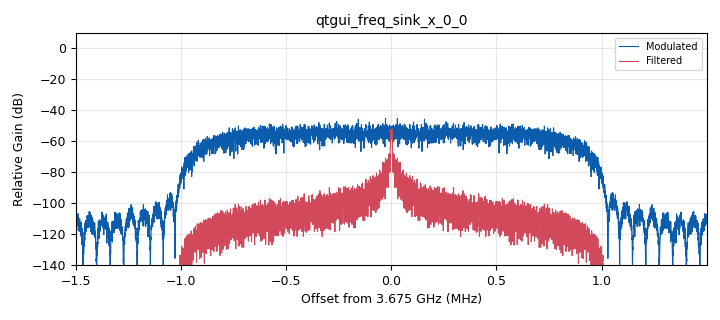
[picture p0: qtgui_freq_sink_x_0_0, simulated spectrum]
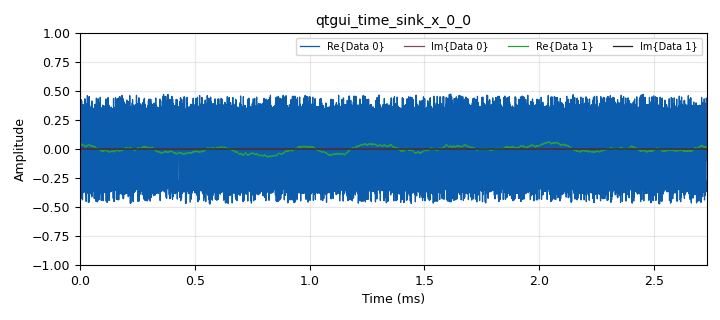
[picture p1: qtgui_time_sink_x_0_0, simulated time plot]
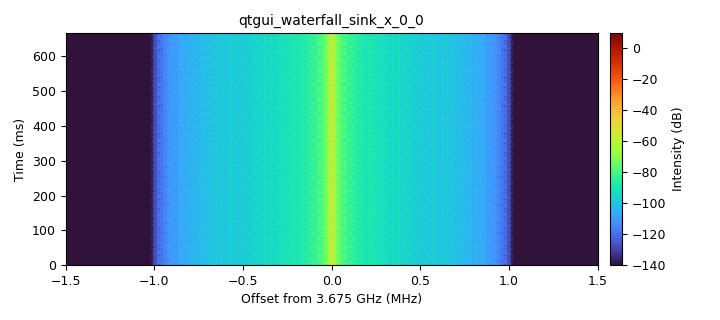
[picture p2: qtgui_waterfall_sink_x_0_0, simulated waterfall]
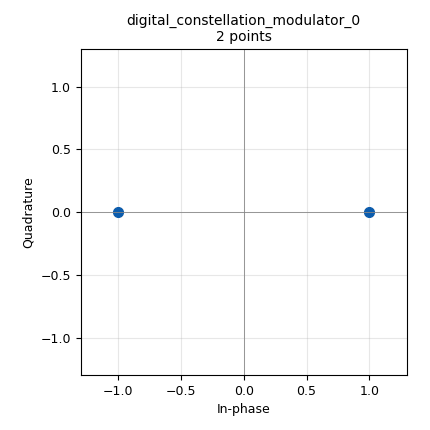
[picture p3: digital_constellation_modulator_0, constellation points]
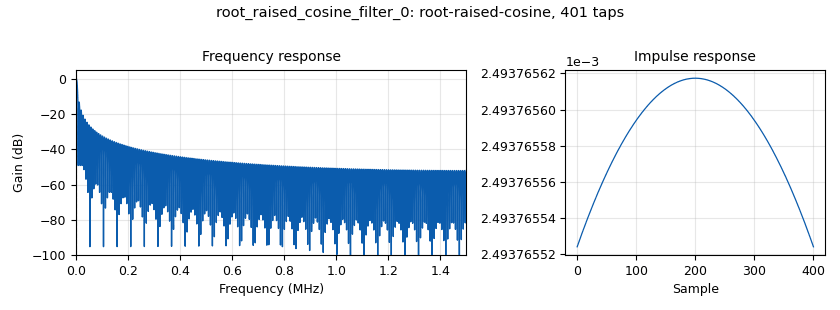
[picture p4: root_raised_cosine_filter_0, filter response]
options:
  parameters:
    author: Nuand, LLC <bladeRF@nuand.com>
    category: Custom
    description: A simple flowgraph that demonstrates the usage of loopback modes.
    generate_options: qt_gui
    id: bladeRF_loopback
    output_language: python
    title: '"bladeRF loopback example"'
  states: {}

blocks:
- name: bladerf_rx_args
  id: variable
  parameters:
    value: '"bladerf=" + bladerf_selection + ",loopback=" + loopback + ",buffers=" + str(rx_num_buffers) + ",buflen=" + str(rx_buflen) + ",num_xfers=" + str(rx_num_xfers) + ",verbosity="+verbosity'
  states: {}
- name: bladerf_selection
  id: variable
  parameters:
    value: str(instance) if serial == "" else serial
  states: {}
- name: bladerf_tx_args
  id: variable
  parameters:
    value: '"bladerf=" + bladerf_selection + ",buffers=" + str(tx_num_buffers) + ",buflen=" + str(tx_buflen) + ",num_xfers=" + str(tx_num_xfers) + ",verbosity="+verbosity'
  states: {}
- name: constellation
  id: variable_constellation
  parameters:
    precision: '8'
    type: bpsk
  states: {}
- name: gui_bladerf_rx_args
  id: variable_qtgui_label
  parameters:
    gui_hint: 'tabs@0 : 11, 0, 1, 10'
    label: '"bladeRF RX arguments"'
    type: string
    value: bladerf_rx_args
  states: {}
- name: gui_bladerf_tx_args
  id: variable_qtgui_label
  parameters:
    gui_hint: 'tabs@1: 11, 0, 1, 10'
    label: '"bladeRF TX arguments"'
    type: string
    value: bladerf_tx_args
  states: {}
- name: gui_rx_bandwidth
  id: variable_qtgui_range
  parameters:
    gui_hint: 'tabs@0 : 1, 2, 1, 2'
    label: Bandwidth
    start: 1.5e6
    step: 0.5e6
    stop: 28e6
    value: rx_bandwidth
  states: {}
- name: gui_rx_frequency
  id: variable_qtgui_range
  parameters:
    gui_hint: 'tabs@0 : 0, 0, 1, 5'
    label: Frequency
    start: min_freq
    step: 1e6
    stop: max_freq
    value: rx_frequency
  states: {}
- name: gui_rx_lna_gain
  id: variable_qtgui_chooser
  parameters:
    gui_hint: 'tabs@0 : 0, 9, 1, 1'
    label: LNA Gain
    label0: 0 dB
    label1: 3 dB
    label2: 6 dB
    num_opts: '3'
    option0: '0'
    option1: '3'
    option2: '6'
    type: int
    value: rx_lna_gain
  states: {}
- name: gui_rx_sample_rate
  id: variable_qtgui_range
  parameters:
    gui_hint: 'tabs@0 : 1, 0, 1, 2'
    label: Sample Rate
    start: 1.5e6
    step: 500e3
    stop: 40e6
    value: rx_sample_rate
  states: {}
- name: gui_rx_vga_gain
  id: variable_qtgui_range
  parameters:
    gui_hint: 'tabs@0 : 0, 5, 1, 4'
    label: RX VGA1 + VGA2 Gain
    start: '5'
    step: '1'
    stop: '60'
    value: rx_vga_gain
  states: {}
- name: gui_tx_bandwidth
  id: variable_qtgui_range
  parameters:
    gui_hint: 'tabs@1 : 1, 2, 1, 2'
    label: Bandwidth
    start: 1.5e6
    step: 0.5e6
    stop: 28e6
    value: tx_bandwidth
  states: {}
- name: gui_tx_frequency
  id: variable_qtgui_range
  parameters:
    gui_hint: 'tabs@1 : 0, 0, 1, 5'
    label: Frequency
    start: min_freq
    step: 1e6
    stop: max_freq
    value: tx_frequency
  states: {}
- name: gui_tx_sample_rate
  id: variable_qtgui_range
  parameters:
    gui_hint: 'tabs@1 : 1, 0, 1, 2'
    label: Sample Rate
    start: 1.5e6
    step: 500e3
    stop: 40e6
    value: tx_sample_rate
  states: {}
- name: gui_tx_vga1
  id: variable_qtgui_range
  parameters:
    gui_hint: 'tabs@1 : 0, 5, 1, 2'
    label: VGA1 Gain
    start: '-35'
    step: '1'
    stop: '-4'
    value: tx_vga1
  states: {}
- name: gui_tx_vga2
  id: variable_qtgui_range
  parameters:
    gui_hint: 'tabs@1 : 0, 7, 1, 2'
    label: VGA2 Gain
    start: '0'
    step: '1'
    stop: '25'
    value: tx_vga2
  states: {}
- name: max_freq
  id: variable
  parameters:
    value: 6.0e9
  states: {}
- name: min_freq
  id: variable
  parameters:
    value: 70e6
  states: {}
- name: sps
  id: variable
  parameters:
    value: '2'
  states: {}
- name: tx_excess_bandwidth
  id: variable
  parameters:
    value: '0.35'
  states: {}
- name: variable_constellation_rect_0
  id: variable_constellation_rect
  parameters:
    const_points: '[-1-1j, -1+1j, 1+1j, 1-1j]'
    imag_sect: '2'
    real_sect: '2'
    rot_sym: '4'
    sym_map: '[0, 1, 3, 2]'
    w_imag_sect: '1'
    w_real_sect: '1'
  states: {}
- name: analog_random_source_x_0
  id: analog_random_source_x
  parameters:
    max: '255'
    min: '0'
    num_samps: '1000'
    repeat: 'True'
    type: byte
  states: {}
- name: bladeRF_sink_0
  id: bladeRF_sink
  parameters:
    bias_tee0: 'False'
    bias_tee1: 'False'
    bw: gui_tx_bandwidth
    dac: '10000'
    dc_calibration: LPF_TUNING
    dcoff: '[0, 0]'
    device_id: '0'
    fpga_image: ''
    fpga_reload: 'False'
    freq: gui_tx_frequency
    gain0: gui_tx_vga2
    gain1: '10'
    if_gain0: gui_tx_vga1
    if_gain1: '20'
    in_clk: ONBOARD
    iq_balance: '[0, 0]'
    lpf_mode: disabled
    metadata: 'False'
    nchan: '1'
    out_clk: 'False'
    ref_clk: '10000000'
    sample_rate: gui_tx_sample_rate
    sampling: internal
    show_pmic: 'False'
    show_v1: 'False'
    smb: '0'
    tamer: internal
    trigger0: 'False'
    trigger1: 'False'
    trigger_role0: master
    trigger_role1: master
    trigger_signal0: J51_1
    trigger_signal1: J51_1
    use_dac: 'False'
    use_iq_balance: 'False'
    use_iq_dcoff: 'False'
    verbosity: verbose
    xb200: none
  states: {state: disabled}
- name: bladeRF_source_0
  id: bladeRF_source
  parameters:
    bias_tee0: 'False'
    bias_tee1: 'False'
    bw: gui_rx_bandwidth
    dac: '10000'
    dc_calibration: LPF_TUNING
    dc_offset_mode0: '0'
    dc_offset_mode1: '0'
    dcoff: '[0, 0]'
    device_id: '0'
    fpga_image: ''
    fpga_reload: 'False'
    freq: gui_rx_frequency
    gain0: gui_rx_lna_gain
    gain1: '10'
    gain_mode0: 'False'
    gain_mode1: 'False'
    if_gain0: gui_rx_vga_gain
    if_gain1: '20'
    in_clk: EXTERNAL
    iq_balance: '[0, 0]'
    iq_balance_mode0: '0'
    iq_balance_mode1: '0'
    lpf_mode: disabled
    metadata: 'False'
    nchan: '1'
    out_clk: 'False'
    ref_clk: '10000000'
    sample_rate: gui_rx_sample_rate
    sampling: internal
    show_pmic: 'False'
    show_v1: 'True'
    smb: '0'
    tamer: internal
    trigger0: 'False'
    trigger1: 'False'
    trigger_role0: master
    trigger_role1: master
    trigger_signal0: J51_1
    trigger_signal1: J51_1
    use_dac: 'False'
    use_iq_balance: 'False'
    use_iq_dcoff: 'False'
    verbosity: verbose
    xb200: none
  states: {}
- name: blocks_copy_0
  id: blocks_copy
  parameters:
    enabled: 'True'
    type: complex
  states: {}
- name: blocks_copy_1
  id: blocks_copy
  parameters:
    enabled: 'True'
    type: complex
  states: {state: disabled}
- name: blocks_multiply_const_vxx_0
  id: blocks_multiply_const_vxx
  parameters:
    const: '0.3'
    type: complex
  states: {}
- name: blocks_throttle_0_0
  id: blocks_throttle
  parameters:
    samples_per_second: tx_sample_rate
    type: complex
  states: {}
- name: channels_channel_model_0
  id: channels_channel_model
  parameters:
    epsilon: '1.0'
    freq_offset: '0.0'
    noise_voltage: '0.0'
    seed: '0'
    taps: '1.0 '
  states: {}
- name: digital_constellation_modulator_0
  id: digital_constellation_modulator
  parameters:
    constellation: constellation
    differential: 'True'
    excess_bw: '0.35'
    samples_per_symbol: sps
  states: {}
- name: digital_constellation_receiver_cb_0
  id: digital_constellation_receiver_cb
  parameters: {}
  states: {state: disabled}
- name: digital_pfb_clock_sync_xxx_1
  id: digital_pfb_clock_sync_xxx
  parameters:
    filter_size: '32'
    init_phase: '16'
    loop_bw: 2.0*math.pi/100.0
    max_dev: '1.5'
    osps: '1'
    sps: sps
    type: ccf
  states: {}
- name: fec_ber_bf_0
  id: fec_ber_bf
  parameters:
    test_mode: 'False'
  states: {state: disabled}
- name: import_0
  id: import
  parameters:
    imports: import math
  states: {}
- name: instance
  id: parameter
  parameters:
    label: 0-indexed device instance describing device to use. Ignored if a serial-number is provided.
    type: intx
    value: '0'
  states: {}
- name: loopback
  id: parameter
  parameters:
    label: Loopback mode
    short_id: l
    value: '"none"'
  states: {}
- name: note_0
  id: note
  parameters:
    note: Command line params
  states: {}
- name: note_0_0
  id: note
  parameters:
    note: GUI Controls
  states: {}
- name: qtgui_freq_sink_x_0
  id: qtgui_freq_sink_x
  parameters:
    average: '0.1'
    bw: gui_rx_sample_rate
    fc: gui_rx_frequency
    fftsize: '8192'
    gui_hint: 'tabs@0 : 2, 0, 5, 5'
    showports: 'True'
    type: complex
  states: {}
- name: qtgui_freq_sink_x_0_0
  id: qtgui_freq_sink_x
  parameters:
    average: '0.1'
    bw: gui_tx_sample_rate
    fc: gui_tx_frequency
    fftsize: '8192'
    gui_hint: 'tabs@1 : 2, 0, 5, 5'
    label1: Modulated
    label2: Filtered
    nconnections: '2'
    showports: 'True'
    type: complex
  states: {}
- name: qtgui_time_sink_x_0
  id: qtgui_time_sink_x
  parameters:
    ctrlpanel: 'True'
    gui_hint: 'tabs@0 : 7, 0, 3, 10'
    label1: ''
    label2: ''
    size: '8192'
    srate: rx_sample_rate
    type: complex
  states: {}
- name: qtgui_time_sink_x_0_0
  id: qtgui_time_sink_x
  parameters:
    ctrlpanel: 'True'
    gui_hint: 'tabs@1 : 7, 0, 3, 10'
    label1: ''
    label2: ''
    label3: ''
    label4: ''
    nconnections: '2'
    size: '8192'
    srate: tx_sample_rate
    type: complex
  states: {}
- name: qtgui_waterfall_sink_x_0
  id: qtgui_waterfall_sink_x
  parameters:
    bw: gui_rx_sample_rate
    fc: gui_rx_frequency
    fftsize: '8192'
    gui_hint: 'tabs@0 : 2, 5, 5, 5'
    showports: 'True'
    type: complex
  states: {}
- name: qtgui_waterfall_sink_x_0_0
  id: qtgui_waterfall_sink_x
  parameters:
    bw: gui_tx_sample_rate
    fc: gui_tx_frequency
    fftsize: '8192'
    gui_hint: 'tabs@1 : 2, 5, 5, 5'
    showports: 'True'
    type: complex
  states: {}
- name: root_raised_cosine_filter_0
  id: root_raised_cosine_filter
  parameters:
    alpha: '0.35'
    decim: '1'
    gain: '1'
    ntaps: '400'
    samp_rate: tx_sample_rate
    sym_rate: sps
    type: fir_filter_ccf
  states: {}
- name: rx_bandwidth
  id: parameter
  parameters:
    label: Bandwidth
    type: eng_float
    value: 1.5e6
  states: {}
- name: rx_buflen
  id: parameter
  parameters:
    label: Length of RX buffers, in samples. Should be a multiple of 1024.
    value: '4096'
  states: {}
- name: rx_frequency
  id: parameter
  parameters:
    label: Frequency
    type: eng_float
    value: 3.675e9
  states: {}
- name: rx_lna_gain
  id: parameter
  parameters:
    label: RX LNA Gain
    type: intx
    value: '6'
  states: {}
- name: rx_num_buffers
  id: parameter
  parameters:
    label: Number of RX buffers to use
    type: intx
    value: '16'
  states: {}
- name: rx_num_xfers
  id: parameter
  parameters:
    label: Number of maximum in-flight RX USB transfers. Should be <= (num-buffers / 2).
    type: intx
    value: '8'
  states: {}
- name: rx_sample_rate
  id: parameter
  parameters:
    label: Sample Rate
    type: eng_float
    value: 3e6
  states: {}
- name: rx_vga_gain
  id: parameter
  parameters:
    label: RX VGA1 + VGA2 Gain
    type: intx
    value: '20'
  states: {}
- name: serial
  id: parameter
  parameters:
    label: bladeRF serial number
    value: '""'
  states: {}
- name: tabs
  id: qtgui_tab_widget
  parameters:
    label0: RX
    label1: TX
    num_tabs: '2'
  states: {}
- name: tx_bandwidth
  id: parameter
  parameters:
    label: Bandwidth
    type: eng_float
    value: 1.5e6
  states: {}
- name: tx_buflen
  id: parameter
  parameters:
    label: Length of TX buffers, in samples. Should be a multiple of 1024.
    value: '4096'
  states: {}
- name: tx_frequency
  id: parameter
  parameters:
    label: Frequency
    type: eng_float
    value: 3.675e9
  states: {}
- name: tx_num_buffers
  id: parameter
  parameters:
    label: Number of TX buffers to use
    type: intx
    value: '16'
  states: {}
- name: tx_num_xfers
  id: parameter
  parameters:
    label: Number of maximum in-flight TX USB transfers. Should be <= (num-buffers / 2).
    type: intx
    value: '8'
  states: {}
- name: tx_sample_rate
  id: parameter
  parameters:
    label: Sample Rate
    type: eng_float
    value: 3e6
  states: {}
- name: tx_vga1
  id: parameter
  parameters:
    label: TX VGA1 Gain
    type: intx
    value: '-18'
  states: {}
- name: tx_vga2
  id: parameter
  parameters:
    label: TX VGA2 Gain
    type: intx
    value: '0'
  states: {}
- name: verbosity
  id: parameter
  parameters:
    label: 'libbladeRF log verbosity. Options are: verbose, debug, info, warning, error, critical, silent'
    value: '"info"'
  states: {}
- name: virtual_sink_0
  id: virtual_sink
  parameters:
    stream_id: channel_in
  states: {}
- name: virtual_sink_1
  id: virtual_sink
  parameters:
    stream_id: channel_out
  states: {}
- name: virtual_source_0
  id: virtual_source
  parameters:
    stream_id: channel_out
  states: {state: disabled}
- name: virtual_source_1
  id: virtual_source
  parameters:
    stream_id: channel_in
  states: {}

connections:
- [analog_random_source_x_0, '0', digital_constellation_modulator_0, '0']
- [bladeRF_source_0, '0', digital_pfb_clock_sync_xxx_1, '0']
- [blocks_copy_0, '0', qtgui_freq_sink_x_0, '0']
- [blocks_copy_0, '0', qtgui_time_sink_x_0, '0']
- [blocks_copy_0, '0', qtgui_waterfall_sink_x_0, '0']
- [blocks_copy_1, '0', bladeRF_sink_0, '0']
- [blocks_copy_1, '0', blocks_throttle_0_0, '0']
- [blocks_copy_1, '0', qtgui_freq_sink_x_0_0, '1']
- [blocks_copy_1, '0', qtgui_time_sink_x_0_0, '1']
- [blocks_copy_1, '0', qtgui_waterfall_sink_x_0_0, '0']
- [blocks_multiply_const_vxx_0, '0', blocks_copy_1, '0']
- [blocks_multiply_const_vxx_0, '0', qtgui_freq_sink_x_0_0, '0']
- [blocks_multiply_const_vxx_0, '0', qtgui_time_sink_x_0_0, '0']
- [blocks_multiply_const_vxx_0, '0', root_raised_cosine_filter_0, '0']
- [blocks_throttle_0_0, '0', virtual_sink_0, '0']
- [channels_channel_model_0, '0', virtual_sink_1, '0']
- [digital_constellation_modulator_0, '0', blocks_multiply_const_vxx_0, '0']
- [digital_pfb_clock_sync_xxx_1, '0', blocks_copy_0, '0']
- [root_raised_cosine_filter_0, '0', bladeRF_sink_0, '0']
- [root_raised_cosine_filter_0, '0', blocks_throttle_0_0, '0']
- [root_raised_cosine_filter_0, '0', qtgui_freq_sink_x_0_0, '1']
- [root_raised_cosine_filter_0, '0', qtgui_time_sink_x_0_0, '1']
- [root_raised_cosine_filter_0, '0', qtgui_waterfall_sink_x_0_0, '0']
- [virtual_source_1, '0', channels_channel_model_0, '0']

metadata:
  file_format: 1
